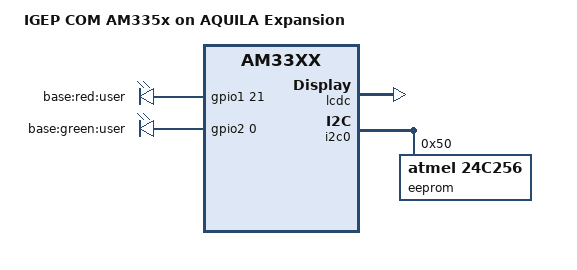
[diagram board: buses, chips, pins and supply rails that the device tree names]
// SPDX-License-Identifier: GPL-2.0-only
/*
 * am335x-base0033.dts - Device Tree file for IGEP AQUILA EXPANSION
 *
 * Copyright (C) 2013 ISEE 2007 SL - http://www.isee.biz
 */

#include "am335x-igep0033.dtsi"

/ {
	model = "IGEP COM AM335x on AQUILA Expansion";
	compatible = "isee,am335x-base0033", "isee,am335x-igep0033", "ti,am33xx";

	hdmi {
		compatible = "ti,tilcdc,slave";
		i2c = <&i2c0>;
		pinctrl-names = "default", "off";
		pinctrl-0 = <&nxp_hdmi_pins>;
		pinctrl-1 = <&nxp_hdmi_off_pins>;
		status = "okay";
	};

	leds_base {
		pinctrl-names = "default";
		pinctrl-0 = <&leds_base_pins>;

		compatible = "gpio-leds";

		led0 {
			label = "base:red:user";
			gpios = <&gpio1 21 GPIO_ACTIVE_HIGH>;	/* gpio1_21 */
			default-state = "off";
		};

		led1 {
			label = "base:green:user";
			gpios = <&gpio2 0 GPIO_ACTIVE_HIGH>;	/* gpio2_0 */
			default-state = "off";
		};
	};
};

&am33xx_pinmux {
	nxp_hdmi_pins: nxp-hdmi-pins {
		pinctrl-single,pins = <
			AM33XX_PADCONF(AM335X_PIN_XDMA_EVENT_INTR0, PIN_OUTPUT, MUX_MODE3)	/* xdma_event_intr0.clkout1 */
			AM33XX_PADCONF(AM335X_PIN_LCD_DATA0, PIN_OUTPUT, MUX_MODE0)
			AM33XX_PADCONF(AM335X_PIN_LCD_DATA1, PIN_OUTPUT, MUX_MODE0)
			AM33XX_PADCONF(AM335X_PIN_LCD_DATA2, PIN_OUTPUT, MUX_MODE0)
			AM33XX_PADCONF(AM335X_PIN_LCD_DATA3, PIN_OUTPUT, MUX_MODE0)
			AM33XX_PADCONF(AM335X_PIN_LCD_DATA4, PIN_OUTPUT, MUX_MODE0)
			AM33XX_PADCONF(AM335X_PIN_LCD_DATA5, PIN_OUTPUT, MUX_MODE0)
			AM33XX_PADCONF(AM335X_PIN_LCD_DATA6, PIN_OUTPUT, MUX_MODE0)
			AM33XX_PADCONF(AM335X_PIN_LCD_DATA7, PIN_OUTPUT, MUX_MODE0)
			AM33XX_PADCONF(AM335X_PIN_LCD_DATA8, PIN_OUTPUT, MUX_MODE0)
			AM33XX_PADCONF(AM335X_PIN_LCD_DATA9, PIN_OUTPUT, MUX_MODE0)
			AM33XX_PADCONF(AM335X_PIN_LCD_DATA10, PIN_OUTPUT, MUX_MODE0)
			AM33XX_PADCONF(AM335X_PIN_LCD_DATA11, PIN_OUTPUT, MUX_MODE0)
			AM33XX_PADCONF(AM335X_PIN_LCD_DATA12, PIN_OUTPUT, MUX_MODE0)
			AM33XX_PADCONF(AM335X_PIN_LCD_DATA13, PIN_OUTPUT, MUX_MODE0)
			AM33XX_PADCONF(AM335X_PIN_LCD_DATA14, PIN_OUTPUT, MUX_MODE0)
			AM33XX_PADCONF(AM335X_PIN_LCD_DATA15, PIN_OUTPUT, MUX_MODE0)
			AM33XX_PADCONF(AM335X_PIN_LCD_VSYNC, PIN_OUTPUT, MUX_MODE0)
			AM33XX_PADCONF(AM335X_PIN_LCD_HSYNC, PIN_OUTPUT, MUX_MODE0)
			AM33XX_PADCONF(AM335X_PIN_LCD_PCLK, PIN_OUTPUT, MUX_MODE0)
			AM33XX_PADCONF(AM335X_PIN_LCD_AC_BIAS_EN, PIN_OUTPUT, MUX_MODE0)
		>;
	};
	nxp_hdmi_off_pins: nxp-hdmi-off-pins {
		pinctrl-single,pins = <
			AM33XX_PADCONF(AM335X_PIN_XDMA_EVENT_INTR0, PIN_OUTPUT, MUX_MODE3)	/* xdma_event_intr0.clkout1 */
		>;
	};

	leds_base_pins: leds-base-pins {
		pinctrl-single,pins = <
			AM33XX_PADCONF(AM335X_PIN_GPMC_A5, PIN_OUTPUT_PULLDOWN, MUX_MODE7)	/* gpmc_a5.gpio1_21 */
			AM33XX_PADCONF(AM335X_PIN_GPMC_CSN3, PIN_OUTPUT_PULLDOWN, MUX_MODE7)	/* gpmc_csn3.gpio2_0 */
		>;
	};
};

&lcdc {
	status = "okay";
};

&i2c0 {
	eeprom: eeprom@50 {
		compatible = "atmel,24c256";
		reg = <0x50>;
	};
};
